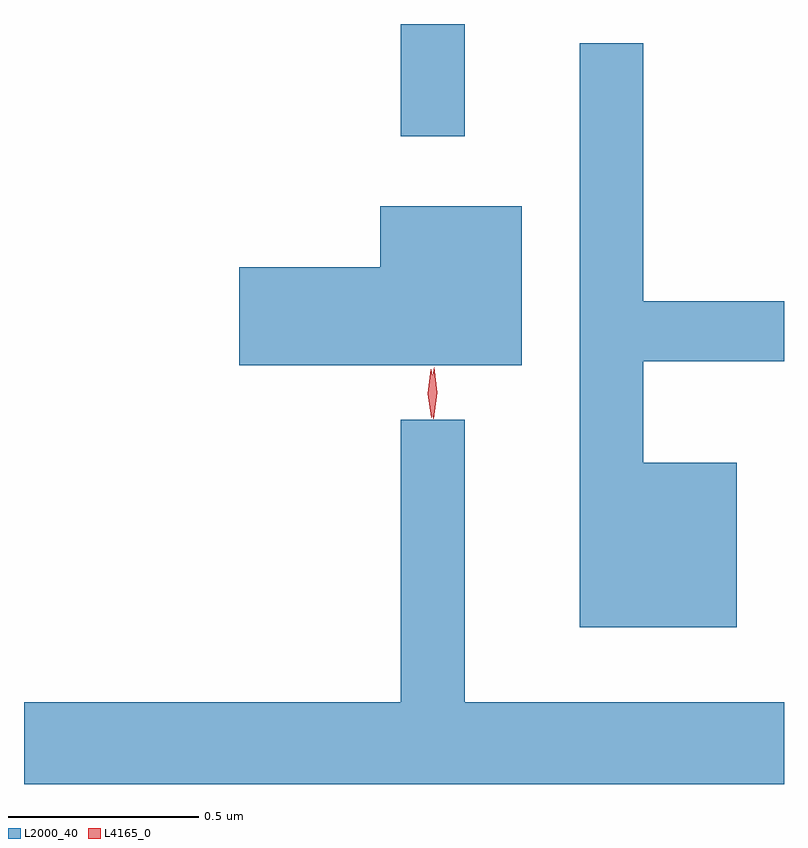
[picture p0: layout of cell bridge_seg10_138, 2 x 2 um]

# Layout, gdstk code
import gdstk
lib = gdstk.Library(unit=1e-6, precision=1e-09)
def R(c, l, rs):  # rectangles x0, y0, x1, y1
    for r in rs: c.add(gdstk.rectangle(r[:2], r[2:], *l))
def P(c, l, *ps):  # polygons
    for p in ps: c.add(gdstk.Polygon(p, *l))
L2000_40 = (2000, 40)
L4165_0 = (4165, 0)

bridge_seg10_138 = lib.new_cell('bridge_seg10_138')
R(bridge_seg10_138, L2000_40, [(1559.191,2146.753,1559.359,2147.049)])
P(bridge_seg10_138, L2000_40, [(1560.074,2145.894),(1559.829,2145.894),(1559.829,2146.161),(1560.199,2146.161),(1560.199,2146.319),(1559.829,2146.319),(1559.829,2146.998),(1559.661,2146.998),(1559.661,2145.461),(1560.074,2145.461)],
  [(1559.509,2146.569),(1559.136,2146.569),(1559.136,2146.409),(1558.766,2146.409),(1558.766,2146.151),(1559.509,2146.151)],
  [(1560.199,2145.264),(1559.359,2145.264),(1559.359,2146.008),(1559.191,2146.008),(1559.191,2145.264),(1558.199,2145.264),(1558.199,2145.049),(1560.199,2145.049)])
P(bridge_seg10_138, L4165_0, [(1559.271,2146.013),(1559.271,2146.014),(1559.261,2146.076),(1559.27,2146.14),(1559.271,2146.14),(1559.271,2146.14),(1559.281,2146.076),(1559.272,2146.014)],
  [(1559.276,2146.01),(1559.276,2146.01),(1559.267,2146.078),(1559.278,2146.146),(1559.278,2146.146),(1559.278,2146.146),(1559.287,2146.078),(1559.277,2146.01)])

lib.write_gds('bridge_seg10_138.gds')
